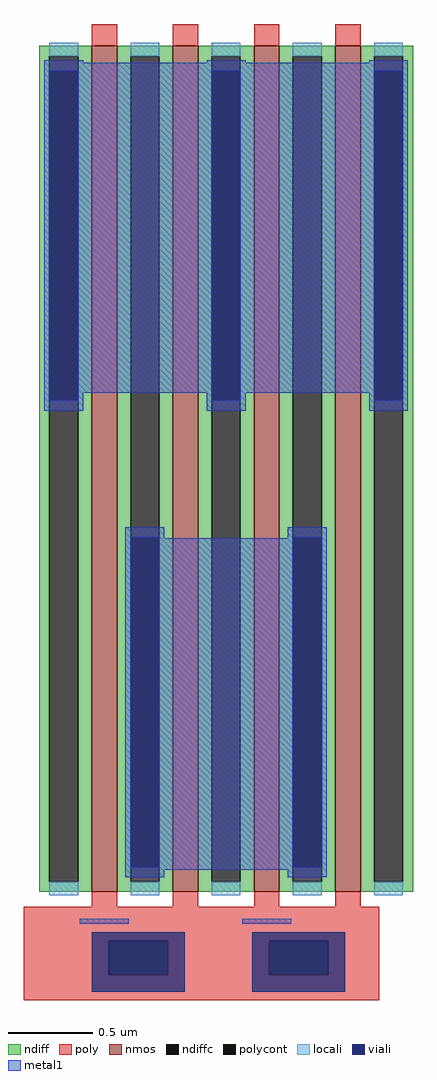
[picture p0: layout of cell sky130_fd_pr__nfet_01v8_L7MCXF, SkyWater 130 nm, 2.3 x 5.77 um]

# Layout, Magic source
magic
tech sky130A
magscale 1 2
<< nmos >>
rect -159 -500 -129 500
rect -63 -500 -33 500
rect 33 -500 63 500
rect 129 -500 159 500
<< ndiff >>
rect -221 488 -159 500
rect -221 -488 -209 488
rect -175 -488 -159 488
rect -221 -500 -159 -488
rect -129 488 -63 500
rect -129 -488 -113 488
rect -79 -488 -63 488
rect -129 -500 -63 -488
rect -33 488 33 500
rect -33 -488 -17 488
rect 17 -488 33 488
rect -33 -500 33 -488
rect 63 488 129 500
rect 63 -488 79 488
rect 113 -488 129 488
rect 63 -500 129 -488
rect 159 488 221 500
rect 159 -488 175 488
rect 209 -488 221 488
rect 159 -500 221 -488
<< ndiffc >>
rect -209 -488 -175 488
rect -113 -488 -79 488
rect -17 -488 17 488
rect 79 -488 113 488
rect 175 -488 209 488
<< poly >>
rect -159 500 -129 526
rect -63 500 -33 526
rect 33 500 63 526
rect 129 500 159 526
rect -159 -518 -129 -500
rect -63 -518 -33 -500
rect 33 -518 63 -500
rect 129 -518 159 -500
rect -239 -558 181 -518
rect -239 -598 -139 -558
rect -69 -598 51 -558
rect 121 -598 181 -558
rect -239 -628 181 -598
<< polycont >>
rect -139 -598 -69 -558
rect 51 -598 121 -558
<< locali >>
rect -209 488 -175 504
rect -209 -504 -175 -488
rect -113 488 -79 504
rect -113 -504 -79 -488
rect -17 488 17 504
rect -17 -504 17 -488
rect 79 488 113 504
rect 79 -504 113 -488
rect 175 488 209 504
rect 175 -504 209 -488
<< viali >>
rect -209 81 -175 471
rect -113 -471 -79 -81
rect -17 81 17 471
rect 79 -471 113 -81
rect 175 81 209 471
rect -159 -558 -49 -548
rect -159 -598 -139 -558
rect -139 -598 -69 -558
rect -69 -598 -49 -558
rect -159 -618 -49 -598
rect 31 -558 141 -548
rect 31 -598 51 -558
rect 51 -598 121 -558
rect 121 -598 141 -558
rect 31 -618 141 -598
<< metal1 >>
rect -215 480 -169 483
rect -23 480 23 483
rect 169 480 215 483
rect -215 471 215 480
rect -215 81 -209 471
rect -175 90 -17 471
rect -175 81 -169 90
rect -215 69 -169 81
rect -23 81 -17 90
rect 17 90 175 471
rect 17 81 23 90
rect -23 69 23 81
rect 169 81 175 90
rect 209 81 215 471
rect 169 69 215 81
rect -119 -81 -73 -69
rect -119 -471 -113 -81
rect -79 -82 -73 -81
rect 73 -81 119 -69
rect 73 -82 79 -81
rect -79 -471 79 -82
rect 113 -471 119 -81
rect -119 -474 119 -471
rect -119 -483 -73 -474
rect 73 -483 119 -474
rect -173 -538 -115 -532
rect 19 -538 77 -532
<< properties >>
string gencell sky130_fd_pr__nfet_01v8
string library sky130
string parameters w 5.0 l 0.15 m 1 nf 4 diffcov 100 polycov 100 guard 0 glc 1 grc 1 gtc 1 gbc 1 tbcov 100 rlcov 100 topc 1 botc 1 poverlap 0 doverlap 1 lmin 0.15 wmin 0.42 compatible {sky130_fd_pr__nfet_01v8 sky130_fd_pr__nfet_01v8_lvt  sky130_fd_bs_flash__special_sonosfet_star  sky130_fd_pr__nfet_g5v0d10v5 sky130_fd_pr__nfet_05v0_nvt  sky130_fd_pr__nfet_03v3_nvt} full_metal 1 viasrc +40 viadrn -40 viagate 100 viagb 0 viagr 0 viagl 0 viagt 0
<< end >>
